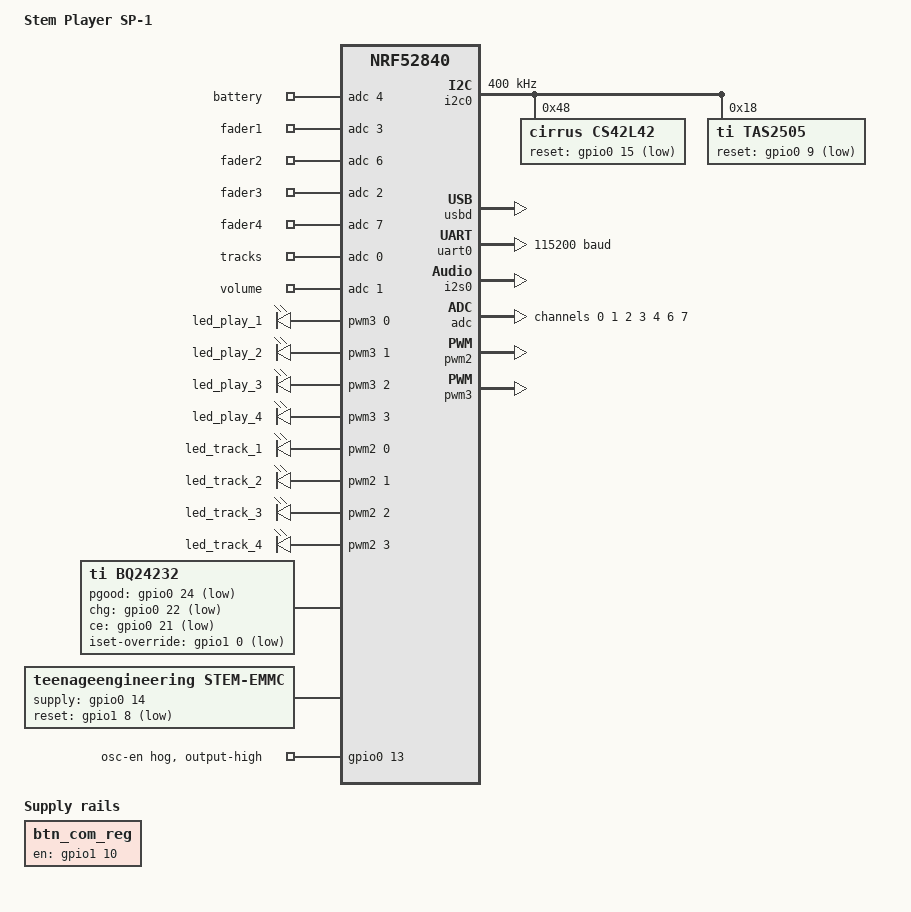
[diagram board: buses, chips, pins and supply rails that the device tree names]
/dts-v1/;
#include <nordic/nrf52840_qiaa.dtsi>
#include <zephyr/dt-bindings/input/input-event-codes.h>
#include "stem_player-pinctrl.dtsi"

/ {
	model = "Stem Player SP-1";
	compatible = "teenageengineering,stem-player";
	nfct-pins-as-gpios;

	chosen {
		zephyr,sram = &sram0;
		zephyr,flash = &flash0;
		zephyr,code-partition = &slot0_partition;
	};

	zephyr,user {
		io-channels = <&adc 4>, <&adc 3>, <&adc 6>, <&adc 2>, <&adc 7>, <&adc 0>, <&adc 1>;
		io-channel-names = "battery", "fader1", "fader2", "fader3", "fader4", "tracks", "volume";
	};

	aliases {
		i2s = &i2s0;
		codec-i2c = &i2c0;
		bt-uart = &uart0;
		fnc-btn = &button_fnc;
		btn-com = &btn_com_reg;
		sw0 = &button_fnc;
		led0 = &led_play_1;
		led1 = &led_play_2;
		led2 = &led_play_3;
		led3 = &led_play_4;
	};

	leds {
		compatible = "pwm-leds";

		led_play_1: led_play_1 {
			pwms = <&pwm3 0 PWM_USEC(1024) 0>;
		};

		led_play_2: led_play_2 {
			pwms = <&pwm3 1 PWM_USEC(1024) 0>;
		};

		led_play_3: led_play_3 {
			pwms = <&pwm3 2 PWM_USEC(1024) 0>;
		};

		led_play_4: led_play_4 {
			pwms = <&pwm3 3 PWM_USEC(1024) 0>;
		};

		led_track_1: led_track_1 {
			pwms = <&pwm2 0 PWM_USEC(1024) 0>;
		};

		led_track_2: led_track_2 {
			pwms = <&pwm2 1 PWM_USEC(1024) 0>;
		};

		led_track_3: led_track_3 {
			pwms = <&pwm2 2 PWM_USEC(1024) 0>;
		};

		led_track_4: led_track_4 {
			pwms = <&pwm2 3 PWM_USEC(1024) 0>;
		};
	};

	analog_inputs {
		fader_1: fader_1 {
			io-channels = <&adc 3>;
		};

		fader_2: fader_2 {
			io-channels = <&adc 6>;
		};

		fader_3: fader_3 {
			io-channels = <&adc 2>;
		};

		fader_4: fader_4 {
			io-channels = <&adc 7>;
		};

		ladder_tracks: ladder_tracks {
			io-channels = <&adc 0>;
		};

		ladder_vol: ladder_vol {
			io-channels = <&adc 1>;
		};

		batt_meas: batt_meas {
			io-channels = <&adc 4>;
		};
	};

		fader_axes: fader_axes {
			compatible = "analog-axis";
			status = "disabled";
			poll-period-ms = <20>;

		/* Children MUST be ordered by ascending ADC channel number.
		 * The analog-axis driver batches all channels into one
		 * adc_read(); the SAADC fills the buffer in HW channel
		 * order, but the driver indexes buf[i] as child cfg[i].
		 */

		fader_axis_3: fader_axis_3 {
			io-channels = <&adc 2>;
			in-min = <0>;
			in-max = <4080>;
			out-min = <0>;
			out-max = <4080>;
			zephyr,axis = <INPUT_ABS_Z>;
		};

		fader_axis_1: fader_axis_1 {
			io-channels = <&adc 3>;
			in-min = <0>;
			in-max = <4080>;
			out-min = <0>;
			out-max = <4080>;
			zephyr,axis = <INPUT_ABS_X>;
		};

		battery_axis: battery_axis {
			io-channels = <&adc 4>;
			in-min = <0>;
			in-max = <4096>;
			out-min = <0>;
			out-max = <4096>;
			zephyr,axis = <INPUT_ABS_RY>;
		};

		fader_axis_2: fader_axis_2 {
			io-channels = <&adc 6>;
			in-min = <0>;
			in-max = <4080>;
			out-min = <0>;
			out-max = <4080>;
			zephyr,axis = <INPUT_ABS_Y>;
		};

		fader_axis_4: fader_axis_4 {
			io-channels = <&adc 7>;
			in-min = <0>;
			in-max = <4080>;
			out-min = <0>;
			out-max = <4080>;
			zephyr,axis = <INPUT_ABS_RX>;
		};
	};

		adc_keys_transport: adc_keys_transport {
			compatible = "adc-keys";
			status = "disabled";
			io-channels = <&adc 1>;
		sample-period-ms = <20>;
		keyup-threshold-mv = <0>;

		rocker_rwd {
			press-thresholds-mv = <355 441>;
			zephyr,code = <INPUT_KEY_BACK>;
		};

		volume_down {
			press-thresholds-mv = <638 793>;
			zephyr,code = <INPUT_KEY_VOLUMEDOWN>;
		};

		rocker_fwd {
			press-thresholds-mv = <1064 1321>;
			zephyr,code = <INPUT_KEY_FASTFORWARD>;
		};

		volume_up {
			press-thresholds-mv = <1598 1984>;
			zephyr,code = <INPUT_KEY_VOLUMEUP>;
		};
	};

		adc_keys_track: adc_keys_track {
			compatible = "adc-keys";
			status = "disabled";
			io-channels = <&adc 0>;
		sample-period-ms = <20>;
		keyup-threshold-mv = <0>;

		track_1 {
			press-thresholds-mv = <179 517 779 996 1178 1334 1467 1584>;
			zephyr,code = <INPUT_KEY_1>;
		};

		track_2 {
			press-thresholds-mv = <364 517 893 996 1259 1334 1528 1584>;
			zephyr,code = <INPUT_KEY_2>;
		};

		track_3 {
			press-thresholds-mv = <655 779 893 996 1403 1467 1528 1584>;
			zephyr,code = <INPUT_KEY_3>;
		};

		track_4 {
			press-thresholds-mv = <1091 1178 1259 1334 1403 1467 1528 1584>;
			zephyr,code = <INPUT_KEY_4>;
		};

		play_key {
			press-thresholds-mv = <1587 1589 1591 1592>;
			zephyr,code = <INPUT_KEY_PLAY>;
		};
	};

		buttons: buttons {
			compatible = "gpio-keys";
			status = "disabled";

			button_fnc: button_fnc {
				gpios = <&gpio0 27 (GPIO_PULL_UP | GPIO_ACTIVE_LOW)>;
				label = "Function Button";
				zephyr,code = <INPUT_KEY_MENU>;
			};
		};

		function_longpress {
			compatible = "zephyr,input-longpress";
			status = "disabled";
			input = <&buttons>;
			input-codes = <INPUT_KEY_MENU>;
			long-codes = <INPUT_KEY_POWER>;
			long-delay-ms = <3000>;
		};

	board_ctrl {
		bt_transport_reset: bt_transport_reset {
			gpios = <&gpio0 10 GPIO_ACTIVE_LOW>;
		};
	};

	btn_com_reg: regulator-btn-com {
		compatible = "regulator-fixed";
		regulator-name = "btn-com";
		enable-gpios = <&gpio1 10 GPIO_ACTIVE_HIGH>;
		regulator-boot-on;
		regulator-always-on;
	};

	bq24232: bq24232 {
		compatible = "ti,bq24232";
		status = "okay";
		pgood-gpios = <&gpio0 24 (GPIO_ACTIVE_LOW | GPIO_PULL_UP)>;
		chg-gpios = <&gpio0 22 (GPIO_ACTIVE_LOW | GPIO_PULL_UP)>;
		ce-gpios = <&gpio0 21 GPIO_ACTIVE_LOW>;
		iset-override-gpios = <&gpio1 0 GPIO_ACTIVE_LOW>;
	};

	emmc: emmc {
		compatible = "teenageengineering,stem-emmc";
		status = "okay";
		supply-gpios = <&gpio0 14 GPIO_ACTIVE_HIGH>;
		reset-gpios = <&gpio1 8 GPIO_ACTIVE_LOW>;
	};
};

&i2c0 {
	status = "okay";
	pinctrl-0 = <&i2c0_default>;
	pinctrl-1 = <&i2c0_sleep>;
	pinctrl-names = "default", "sleep";
	clock-frequency = <I2C_BITRATE_FAST>;

	cs42l42: cs42l42@48 {
		compatible = "cirrus,cs42l42";
		reg = <0x48>;
		reset-gpios = <&gpio0 15 GPIO_ACTIVE_LOW>;
	};

	tas2505: tas2505@18 {
		compatible = "ti,tas2505";
		reg = <0x18>;
		reset-gpios = <&gpio0 9 GPIO_ACTIVE_LOW>;
	};
};

zephyr_udc0: &usbd {
	compatible = "nordic,nrf-usbd";
	status = "okay";
};

&uart0 {
	status = "okay";
	current-speed = <115200>;
	pinctrl-0 = <&uart0_default>;
	pinctrl-1 = <&uart0_sleep>;
	pinctrl-names = "default", "sleep";
	hw-flow-control;
};

&uart1 {
	status = "disabled";
};

&i2s0 {
	status = "okay";
	pinctrl-0 = <&i2s0_default>;
	pinctrl-1 = <&i2s0_sleep>;
	pinctrl-names = "default", "sleep";
};

&adc {
	status = "okay";
	#address-cells = <1>;
	#size-cells = <0>;

	channel@0 {
		reg = <0>;
		zephyr,gain = "ADC_GAIN_1_4";
		zephyr,reference = "ADC_REF_VDD_1_4";
		zephyr,vref-mv = <825>;
		zephyr,acquisition-time = <ADC_ACQ_TIME(ADC_ACQ_TIME_MICROSECONDS, 3)>;
		zephyr,input-positive = <NRF_SAADC_AIN0>;
		zephyr,resolution = <12>;
	};

	channel@1 {
		reg = <1>;
		zephyr,gain = "ADC_GAIN_1_4";
		zephyr,reference = "ADC_REF_VDD_1_4";
		zephyr,vref-mv = <825>;
		zephyr,acquisition-time = <ADC_ACQ_TIME(ADC_ACQ_TIME_MICROSECONDS, 3)>;
		zephyr,input-positive = <NRF_SAADC_AIN1>;
		zephyr,resolution = <12>;
	};

	channel@2 {
		reg = <2>;
		zephyr,gain = "ADC_GAIN_1_4";
		zephyr,reference = "ADC_REF_VDD_1_4";
		zephyr,acquisition-time = <ADC_ACQ_TIME(ADC_ACQ_TIME_MICROSECONDS, 3)>;
		zephyr,input-positive = <NRF_SAADC_AIN2>;
		zephyr,resolution = <12>;

	};

	channel@3 {
		reg = <3>;
		zephyr,gain = "ADC_GAIN_1_4";
		zephyr,reference = "ADC_REF_VDD_1_4";
		zephyr,acquisition-time = <ADC_ACQ_TIME(ADC_ACQ_TIME_MICROSECONDS, 3)>;
		zephyr,input-positive = <NRF_SAADC_AIN3>;
		zephyr,resolution = <12>;

	};

	channel@4 {
		reg = <4>;
		zephyr,gain = "ADC_GAIN_1_4";
		zephyr,reference = "ADC_REF_VDD_1_4";
		zephyr,acquisition-time = <ADC_ACQ_TIME(ADC_ACQ_TIME_MICROSECONDS, 3)>;
		zephyr,input-positive = <NRF_SAADC_AIN4>;
		zephyr,resolution = <12>;

	};

	channel@6 {
		reg = <6>;
		zephyr,gain = "ADC_GAIN_1_4";
		zephyr,reference = "ADC_REF_VDD_1_4";
		zephyr,acquisition-time = <ADC_ACQ_TIME(ADC_ACQ_TIME_MICROSECONDS, 3)>;
		zephyr,input-positive = <NRF_SAADC_AIN6>;
		zephyr,resolution = <12>;

	};

	channel@7 {
		reg = <7>;
		zephyr,gain = "ADC_GAIN_1_4";
		zephyr,reference = "ADC_REF_VDD_1_4";
		zephyr,acquisition-time = <ADC_ACQ_TIME(ADC_ACQ_TIME_MICROSECONDS, 3)>;
		zephyr,input-positive = <NRF_SAADC_AIN7>;
		zephyr,resolution = <12>;

	};
};

&gpio0 {
	status = "okay";

	osc_en_hog: osc-en-hog {
		gpio-hog;
		gpios = <13 GPIO_ACTIVE_HIGH>;
		output-high;
		line-name = "osc-en";
	};
};

&gpio1 {
	status = "okay";
};

&gpiote {
	status = "okay";
};

&pwm2 {
	status = "okay";
	pinctrl-0 = <&pwm2_default>;
	pinctrl-1 = <&pwm2_sleep>;
	pinctrl-names = "default", "sleep";
};

&pwm3 {
	status = "okay";
	pinctrl-0 = <&pwm3_default>;
	pinctrl-1 = <&pwm3_sleep>;
	pinctrl-names = "default", "sleep";
};

&flash0 {
	partitions {
		compatible = "fixed-partitions";
		#address-cells = <1>;
		#size-cells = <1>;

		boot_partition: partition@0 {
			label = "bootloader";
			reg = <0x00000000 0x00020000>;
		};

		slot0_partition: partition@20000 {
			label = "image-0";
			reg = <0x00020000 0x000df000>;
		};

		storage_partition: partition@ff000 {
			label = "storage";
			reg = <0x000ff000 0x00001000>;
		};
	};
};
